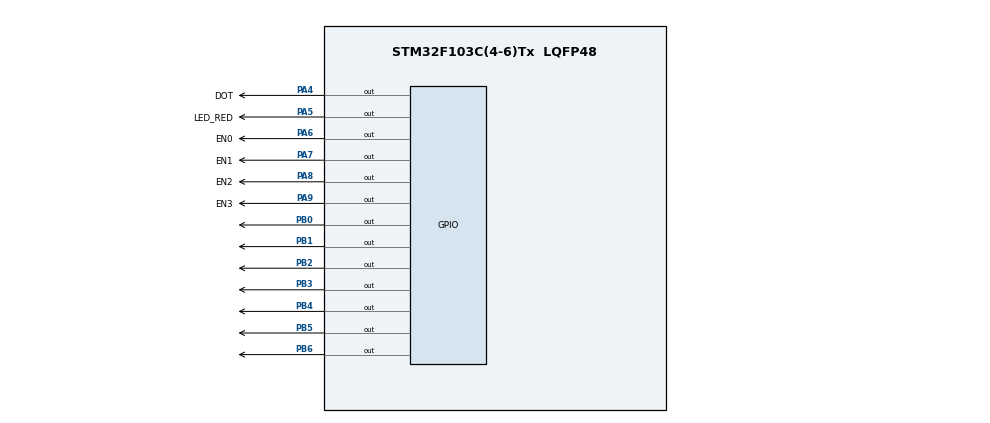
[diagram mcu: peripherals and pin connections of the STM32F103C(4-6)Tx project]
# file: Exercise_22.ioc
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Mcu.Family=STM32F1
Mcu.Name=STM32F103C(4-6)Tx
Mcu.Package=LQFP48
NVIC.PriorityGroup=NVIC_PRIORITYGROUP_4
NVIC.TIM2_IRQn=true\:0\:0\:false\:false\:true\:true\:true
PA4.GPIO_Label=DOT
PA4.Signal=GPIO_Output
PA5.GPIO_Label=LED_RED
PA5.Signal=GPIO_Output
PA6.GPIO_Label=EN0
PA6.Signal=GPIO_Output
PA7.GPIO_Label=EN1
PA7.Signal=GPIO_Output
PA8.GPIO_Label=EN2
PA8.Signal=GPIO_Output
PA9.GPIO_Label=EN3
PA9.Signal=GPIO_Output
PB0.Signal=GPIO_Output
PB1.Signal=GPIO_Output
PB2.Signal=GPIO_Output
PB3.Signal=GPIO_Output
PB4.Signal=GPIO_Output
PB5.Signal=GPIO_Output
PB6.Signal=GPIO_Output
PD0-OSC_IN.Mode=HSE-External-Oscillator
PD0-OSC_IN.Signal=RCC_OSC_IN
PD1-OSC_OUT.Mode=HSE-External-Oscillator
PD1-OSC_OUT.Signal=RCC_OSC_OUT
ProjectManager.HeapSize=0x200
ProjectManager.StackSize=0x400
ProjectManager.TargetToolchain=STM32CubeIDE
RCC.APB1Freq_Value=8000000
RCC.APB2Freq_Value=8000000
TIM2.Period=10-1
TIM2.Prescaler=8000-1
VP_SYS_VS_ND.Mode=No_Debug
VP_TIM2_VS_ClockSourceINT.Mode=Internal
board=custom

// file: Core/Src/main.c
/* USER CODE BEGIN Header */
/**
  ******************************************************************************
  * @file           : main.c
  * @brief          : Main program body
  ******************************************************************************
  * @attention
  *
  * <h2><center>&copy; Copyright (c) 2021 STMicroelectronics.
  * All rights reserved.</center></h2>
  *
  * This software component is licensed by ST under BSD 3-Clause license,
  * the "License"; You may not use this file except in compliance with the
  * License. You may obtain a copy of the License at:
  *                        opensource.org/licenses/BSD-3-Clause
  *
  ******************************************************************************
  */
/* USER CODE END Header */
#include "main.h"

TIM_HandleTypeDef htim2;

void SystemClock_Config(void);
static void MX_GPIO_Init(void);
static void MX_TIM2_Init(void);

/* USER CODE BEGIN 0 */
uint8_t segNumber[10] = {0x40, 0x79, 0x24, 0x30, 0x19, 0x12, 0x02, 0x78, 0x00, 0x10};

void display7SEG(int num){
	uint8_t val = segNumber[num];
	HAL_GPIO_WritePin(GPIOB, GPIO_PIN_0, ((val>>0)&0x01));
	HAL_GPIO_WritePin(GPIOB, GPIO_PIN_1, ((val>>1)&0x01));
	HAL_GPIO_WritePin(GPIOB, GPIO_PIN_2, ((val>>2)&0x01));
	HAL_GPIO_WritePin(GPIOB, GPIO_PIN_3, ((val>>3)&0x01));
	HAL_GPIO_WritePin(GPIOB, GPIO_PIN_4, ((val>>4)&0x01));
	HAL_GPIO_WritePin(GPIOB, GPIO_PIN_5, ((val>>5)&0x01));
	HAL_GPIO_WritePin(GPIOB, GPIO_PIN_6, ((val>>6)&0x01));
}
/* USER CODE END 0 */

int main(void)
{

  /* MCU Configuration--------------------------------------------------------*/

  /* Reset of all peripherals, Initializes the Flash interface and the Systick. */
  HAL_Init();

  /* Configure the system clock */
  SystemClock_Config();

  /* Initialize all configured peripherals */
  MX_GPIO_Init();
  MX_TIM2_Init();
  /* USER CODE BEGIN 2 */
  HAL_TIM_Base_Start_IT(&htim2);

  HAL_GPIO_WritePin(GPIOA, DOT_Pin|LED_RED_Pin|EN0_Pin|EN1_Pin
                              |EN2_Pin|EN3_Pin, GPIO_PIN_SET);
  /* USER CODE END 2 */

  /* Infinite loop */
  while (1)
  {

  }
}

void SystemClock_Config(void)
{
  RCC_OscInitTypeDef RCC_OscInitStruct = {0};
  RCC_ClkInitTypeDef RCC_ClkInitStruct = {0};

  /** Initializes the RCC Oscillators according to the specified parameters
  * in the RCC_OscInitTypeDef structure.
  */
  RCC_OscInitStruct.OscillatorType = RCC_OSCILLATORTYPE_HSI;
  RCC_OscInitStruct.HSIState = RCC_HSI_ON;
  RCC_OscInitStruct.HSICalibrationValue = RCC_HSICALIBRATION_DEFAULT;
  RCC_OscInitStruct.PLL.PLLState = RCC_PLL_NONE;
  if (HAL_RCC_OscConfig(&RCC_OscInitStruct) != HAL_OK)
  {
    Error_Handler();
  }
  /** Initializes the CPU, AHB and APB buses clocks
  */
  RCC_ClkInitStruct.ClockType = RCC_CLOCKTYPE_HCLK|RCC_CLOCKTYPE_SYSCLK
                              |RCC_CLOCKTYPE_PCLK1|RCC_CLOCKTYPE_PCLK2;
  RCC_ClkInitStruct.SYSCLKSource = RCC_SYSCLKSOURCE_HSI;
  RCC_ClkInitStruct.AHBCLKDivider = RCC_SYSCLK_DIV1;
  RCC_ClkInitStruct.APB1CLKDivider = RCC_HCLK_DIV1;
  RCC_ClkInitStruct.APB2CLKDivider = RCC_HCLK_DIV1;

  if (HAL_RCC_ClockConfig(&RCC_ClkInitStruct, FLASH_LATENCY_0) != HAL_OK)
  {
    Error_Handler();
  }
}

static void MX_TIM2_Init(void)
{

  TIM_ClockConfigTypeDef sClockSourceConfig = {0};
  TIM_MasterConfigTypeDef sMasterConfig = {0};

  htim2.Instance = TIM2;
  htim2.Init.Prescaler = 8000-1;
  htim2.Init.CounterMode = TIM_COUNTERMODE_UP;
  htim2.Init.Period = 10-1;
  htim2.Init.ClockDivision = TIM_CLOCKDIVISION_DIV1;
  htim2.Init.AutoReloadPreload = TIM_AUTORELOAD_PRELOAD_DISABLE;
  if (HAL_TIM_Base_Init(&htim2) != HAL_OK)
  {
    Error_Handler();
  }
  sClockSourceConfig.ClockSource = TIM_CLOCKSOURCE_INTERNAL;
  if (HAL_TIM_ConfigClockSource(&htim2, &sClockSourceConfig) != HAL_OK)
  {
    Error_Handler();
  }
  sMasterConfig.MasterOutputTrigger = TIM_TRGO_RESET;
  sMasterConfig.MasterSlaveMode = TIM_MASTERSLAVEMODE_DISABLE;
  if (HAL_TIMEx_MasterConfigSynchronization(&htim2, &sMasterConfig) != HAL_OK)
  {
    Error_Handler();
  }

}

static void MX_GPIO_Init(void)
{
  GPIO_InitTypeDef GPIO_InitStruct = {0};

  /* GPIO Ports Clock Enable */
  __HAL_RCC_GPIOD_CLK_ENABLE();
  __HAL_RCC_GPIOA_CLK_ENABLE();
  __HAL_RCC_GPIOB_CLK_ENABLE();

  /*Configure GPIO pin Output Level */
  HAL_GPIO_WritePin(GPIOA, DOT_Pin|LED_RED_Pin|EN0_Pin|EN1_Pin
                          |EN2_Pin|EN3_Pin, GPIO_PIN_RESET);

  /*Configure GPIO pin Output Level */
  HAL_GPIO_WritePin(GPIOB, GPIO_PIN_0|GPIO_PIN_1|GPIO_PIN_2|GPIO_PIN_3
                          |GPIO_PIN_4|GPIO_PIN_5|GPIO_PIN_6, GPIO_PIN_RESET);

  /*Configure GPIO pins : DOT_Pin LED_RED_Pin EN0_Pin EN1_Pin
                           EN2_Pin EN3_Pin */
  GPIO_InitStruct.Pin = DOT_Pin|LED_RED_Pin|EN0_Pin|EN1_Pin
                          |EN2_Pin|EN3_Pin;
  GPIO_InitStruct.Mode = GPIO_MODE_OUTPUT_PP;
  GPIO_InitStruct.Pull = GPIO_NOPULL;
  GPIO_InitStruct.Speed = GPIO_SPEED_FREQ_LOW;
  HAL_GPIO_Init(GPIOA, &GPIO_InitStruct);

  /*Configure GPIO pins : PB0 PB1 PB2 PB3
                           PB4 PB5 PB6 */
  GPIO_InitStruct.Pin = GPIO_PIN_0|GPIO_PIN_1|GPIO_PIN_2|GPIO_PIN_3
                          |GPIO_PIN_4|GPIO_PIN_5|GPIO_PIN_6;
  GPIO_InitStruct.Mode = GPIO_MODE_OUTPUT_PP;
  GPIO_InitStruct.Pull = GPIO_NOPULL;
  GPIO_InitStruct.Speed = GPIO_SPEED_FREQ_LOW;
  HAL_GPIO_Init(GPIOB, &GPIO_InitStruct);

}

/* USER CODE BEGIN 4 */
int counter = 200;
void HAL_TIM_PeriodElapsedCallback (TIM_HandleTypeDef *htim){
	counter --;
	if(counter == 150){
		HAL_GPIO_WritePin(GPIOA, EN0_Pin, GPIO_PIN_RESET);
		HAL_GPIO_WritePin(GPIOA, EN1_Pin, GPIO_PIN_SET);
		HAL_GPIO_WritePin(GPIOA, EN2_Pin, GPIO_PIN_SET);
		HAL_GPIO_WritePin(GPIOA, EN3_Pin, GPIO_PIN_SET);
		display7SEG(1);
	}
	if(counter == 100){
		HAL_GPIO_WritePin(GPIOA, EN0_Pin, GPIO_PIN_SET);
		HAL_GPIO_WritePin(GPIOA, EN1_Pin, GPIO_PIN_RESET);
		HAL_GPIO_WritePin(GPIOA, EN2_Pin, GPIO_PIN_SET);
		HAL_GPIO_WritePin(GPIOA, EN3_Pin, GPIO_PIN_SET);
		display7SEG(2);
		HAL_GPIO_TogglePin(LED_RED_GPIO_Port, LED_RED_Pin);
		HAL_GPIO_TogglePin(DOT_GPIO_Port, DOT_Pin);
	}
	if(counter == 50){
		HAL_GPIO_WritePin(GPIOA, EN0_Pin, GPIO_PIN_SET);
		HAL_GPIO_WritePin(GPIOA, EN1_Pin, GPIO_PIN_SET);
		HAL_GPIO_WritePin(GPIOA, EN2_Pin, GPIO_PIN_RESET);
		HAL_GPIO_WritePin(GPIOA, EN3_Pin, GPIO_PIN_SET);
		display7SEG(3);
	}
	if(counter <= 0){
		counter = 200;
		HAL_GPIO_WritePin(GPIOA, EN0_Pin, GPIO_PIN_SET);
		HAL_GPIO_WritePin(GPIOA, EN1_Pin, GPIO_PIN_SET);
		HAL_GPIO_WritePin(GPIOA, EN2_Pin, GPIO_PIN_SET);
		HAL_GPIO_WritePin(GPIOA, EN3_Pin, GPIO_PIN_RESET);
		display7SEG(0);
		HAL_GPIO_TogglePin(LED_RED_GPIO_Port, LED_RED_Pin);
		HAL_GPIO_TogglePin(DOT_GPIO_Port, DOT_Pin);
	}
}
/* USER CODE END 4 */

void Error_Handler(void)
{
  __disable_irq();
  while (1)
  {
  }
}

/************************ (C) COPYRIGHT STMicroelectronics *****END OF FILE****/
